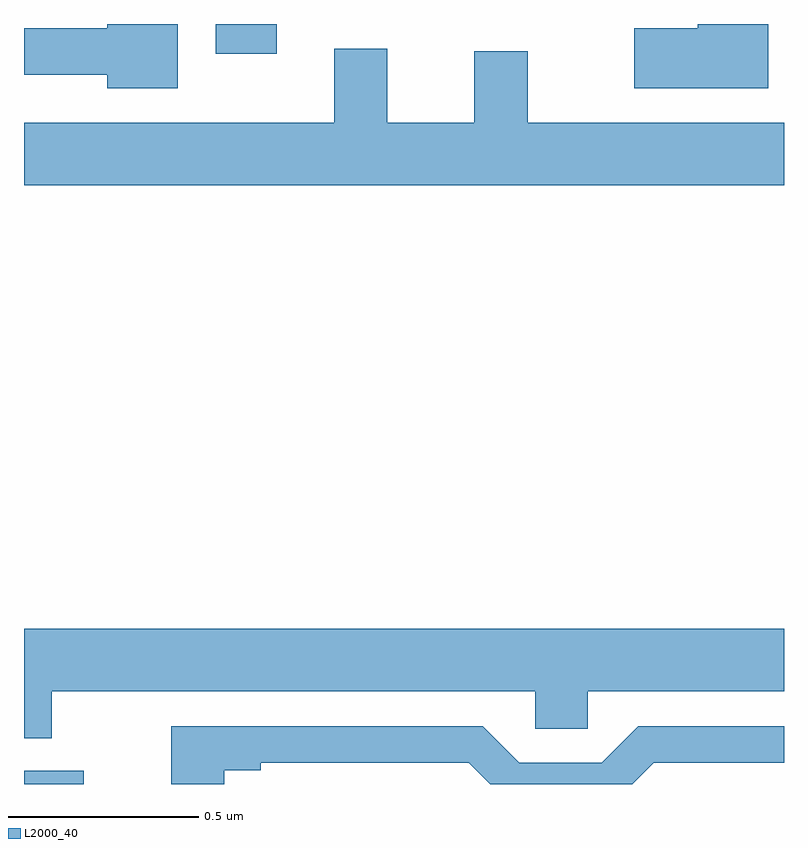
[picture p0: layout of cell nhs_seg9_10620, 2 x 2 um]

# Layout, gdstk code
import gdstk
lib = gdstk.Library(unit=1e-6, precision=1e-09)
def R(c, l, rs):  # rectangles x0, y0, x1, y1
    for r in rs: c.add(gdstk.rectangle(r[:2], r[2:], *l))
def P(c, l, *ps):  # polygons
    for p in ps: c.add(gdstk.Polygon(p, *l))
L2000_40 = (2000, 40)

nhs_seg9_10620 = lib.new_cell('nhs_seg9_10620')
R(nhs_seg9_10620, L2000_40, [(245,1205.5,245.157,1205.535), (245.504,1207.422,245.665,1207.5)])
P(nhs_seg9_10620, L2000_40, [(245.404,1207.5),(245.219,1207.5),(245.219,1207.489),(245,1207.489),(245,1207.367),(245.219,1207.367),(245.219,1207.331),(245.404,1207.331)],
  [(246.958,1207.5),(246.773,1207.5),(246.773,1207.489),(246.606,1207.489),(246.606,1207.331),(246.958,1207.331)],
  [(247,1207.24),(246.325,1207.24),(246.325,1207.428),(246.185,1207.428),(246.185,1207.24),(245.956,1207.24),(245.956,1207.435),(245.816,1207.435),(245.816,1207.24),(245,1207.24),(245,1207.076),(247,1207.076)],
  [(245.073,1205.744),(246.345,1205.744),(246.345,1205.646),(246.483,1205.646),(246.483,1205.744),(247,1205.744),(247,1205.908),(245,1205.908),(245,1205.62),(245.073,1205.62)],
  [(245.527,1205.536),(245.623,1205.536),(245.623,1205.556),(246.171,1205.556),(246.227,1205.5),(246.601,1205.5),(246.657,1205.556),(247,1205.556),(247,1205.652),(246.617,1205.652),(246.521,1205.556),(246.303,1205.556),(246.207,1205.652),(245.387,1205.652),(245.387,1205.5),(245.527,1205.5)])

lib.write_gds('nhs_seg9_10620.gds')
